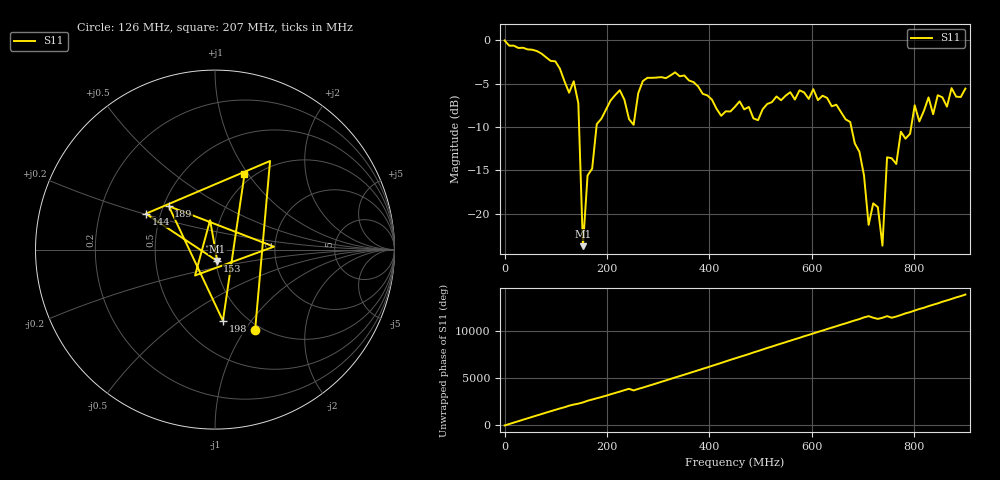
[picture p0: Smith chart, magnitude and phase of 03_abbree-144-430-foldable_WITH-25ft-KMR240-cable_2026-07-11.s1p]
! Antenna S11 sweep  |  Dual-band antenna: strong resonances at 154MHz (VSWR 1.10, VHF-high 150-169MHz) and 736MHz (VSWR 1.13, 700MHz P25 band ~700-740MHz). Fair-poor between. Tested on bench. Identity TBD by user.
! Device: NanoVNA-H fw1.2.44  |  cal 50kHz-900MHz  |  101 points
# Hz S RI R 50
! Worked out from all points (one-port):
!   101 points, 50 kHz to 900 MHz, reference 50 ohm
!   lowest |S11| = -23.7 dB at 153 MHz (marker M1), VSWR 1.14, Z = 50.9 - j6.51 ohm
!   |S11| at or under -10 dB: 145.5 MHz to 179.4 MHz (33.89 MHz wide, 20.9 % of centre); 677.1 MHz to 794.1 MHz (117 MHz wide, 15.9 % of centre)
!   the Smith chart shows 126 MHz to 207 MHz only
!   S11 on the Smith chart (normalised r, x): 126 MHz: 0.94, -1.11; 144 MHz: 0.41, +0.20; 153 MHz: 1.02, -0.13; 189 MHz: 0.53, +0.29; 198 MHz: 0.79, -0.74; 207 MHz: 0.91, +0.96
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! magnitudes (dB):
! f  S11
! 50 kHz  0.0
! 117 MHz  -4.7
! 126 MHz  -6.0
! 144 MHz  -7.2
! 153 MHz  -23.7
! 162 MHz  -15.6
! 189 MHz  -9.0
! 198 MHz  -8.0
! 207 MHz  -6.9
! 225 MHz  -5.7
! 252 MHz  -9.7
! 270 MHz  -4.7
! 342 MHz  -4.1
! 450 MHz  -7.6
! 567 MHz  -6.8
! 603 MHz  -5.6
! 675 MHz  -9.4
! 702 MHz  -15.6
! 711 MHz  -21.3
! 729 MHz  -19.2
! 738 MHz  -23.7
! 747 MHz  -13.5
! 792 MHz  -10.8
! 801 MHz  -7.5
! 810 MHz  -9.4
! 828 MHz  -6.6
! 837 MHz  -8.5
! 900 MHz  -5.6
